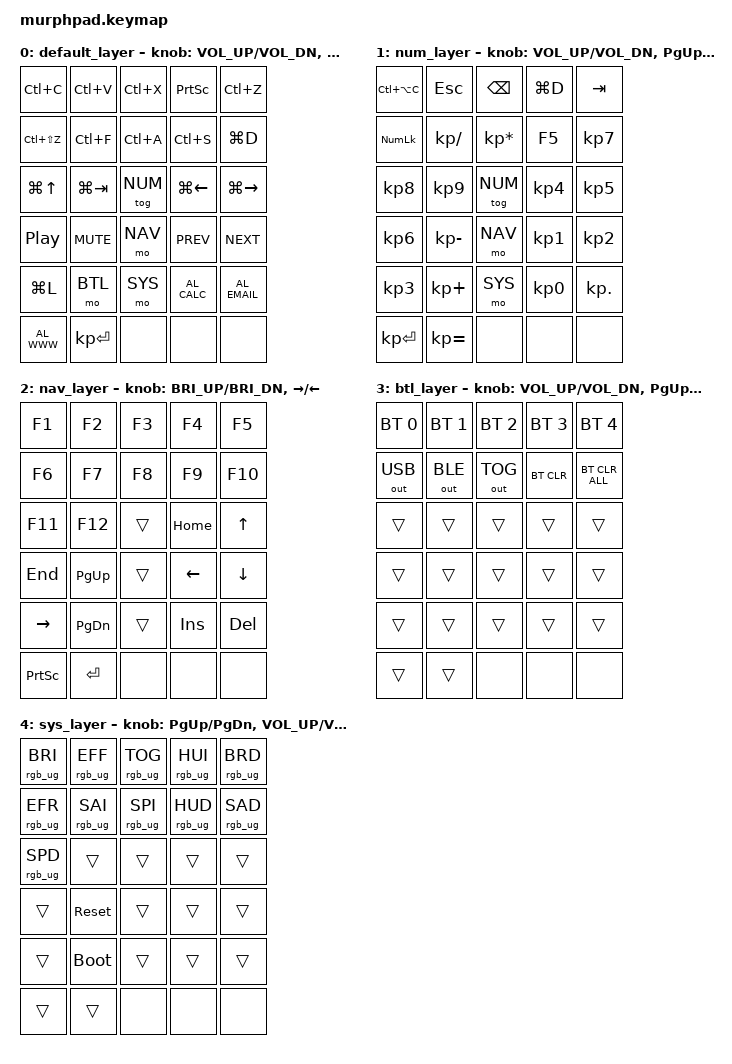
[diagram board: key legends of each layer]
/*
 * MurphPad — MACROPAD remap for zmk-workspace (Rob 2026-07-16)
 *
 * 6×5 matrix, nice!nano v1 (nRF52840), 2 encoders, WS2812 underglow.
 * Role decided: default = MACROPAD (media / window-mgmt / edit / app launch);
 * the numpad is demoted to a TOGGLE layer; a dedicated BT device-switch layer
 * handles multi-device (abbirim/spire/pacer/hackney).
 *
 * Physical layout (27 top-surface keys + 3 PCB-bottom ghosts). The shield's
 * physical_layout snakes matrix positions diagonally, so bindings below are in
 * MATRIX order with the physical @x,y annotated per key:
 *
 *         x=28    x=84    x=140   x=196   x=252
 * y=28:           [0,0]   [0,1]   [0,2]   [0,3]
 * y=84:           [0,4]   [1,0]   [1,1]   [1,2]
 * y=140:          [1,3]   [1,4]   [2,0]   [2,1]
 * y=196:  [2,2]   [2,3]   [2,4]   [3,0]e  [3,1]
 * y=252:  [3,2]   [3,3]   [3,4]   [4,0]   [4,1]
 * y=308:  [4,2]   [4,3]   [4,4]   [5,0]   [5,1]
 * y=364:          [5,2]g  [5,3]g  [5,4]g
 *
 * g=PCB bottom (ghost -> &none), e=encoder 1. Left column (x=28) = layer control.
 *
 * Layers: DEF(macropad) NUM(numpad toggle) NAV(F-keys/nav) BTL(bluetooth/device) SYS(rgb/reset)
 * Cross-OS note: window keys use LG (Meta/Win) which snap/tile on both KDE 5.27+
 * and Windows; virtual-desktop switch differs (KDE=Ctrl+Alt+arrow) — remap if
 * the pad lives on a KDE host.
 */

#include <behaviors.dtsi>
#include <dt-bindings/zmk/keys.h>
#include <dt-bindings/zmk/bt.h>
#include <dt-bindings/zmk/outputs.h>
#include <dt-bindings/zmk/rgb.h>

#define DEF 0
#define NUM 1
#define NAV 2
#define BTL 3
#define SYS 4

/* ── Encoders ─────────────────────────────────────── */
&encoder_1 { status = "okay"; };
&encoder_2 { status = "okay"; };

/ {
    sensors {
        compatible = "zmk,keymap-sensors";
        sensors = <&encoder_1 &encoder_2>;
    };

    keymap {
        compatible = "zmk,keymap";

        /* ── DEF: Macropad ───────────────────────────────────────────── *
         *         x=28    x=84    x=140   x=196   x=252
         * y=28:           Copy    Paste   Cut     PrtSc
         * y=84:           Undo    Redo    Find    SelAll
         * y=140:          Save    ShowDsk Maximiz TaskView
         * y=196:  NUM⊤    TileL   TileR   Play    Mute
         * y=252:  NAV↓    Prev    Next    Lock    BTL↓
         * y=308:  SYS↓    Calc    Email   Web     KpEnt
         * y=364:          [g]     [g]     [g]
         * Enc1(L): volume   Enc2(R): scroll (PgUp/Dn)
         */
        default_layer {
            bindings = <
        /*  [0,0]Copy      [0,1]Paste      [0,2]Cut        [0,3]PrtSc      [0,4]Undo   */
            &kp LC(C)      &kp LC(V)       &kp LC(X)       &kp PSCRN       &kp LC(Z)
        /*  [1,0]Redo      [1,1]Find       [1,2]SelAll     [1,3]Save       [1,4]ShowDsk*/
            &kp LC(LS(Z))  &kp LC(F)       &kp LC(A)       &kp LC(S)       &kp LG(D)
        /*  [2,0]Maximize  [2,1]TaskView   [2,2]NUM-tog    [2,3]TileL      [2,4]TileR  */
            &kp LG(UP)     &kp LG(TAB)     &tog NUM        &kp LG(LEFT)    &kp LG(RIGHT)
        /*  [3,0]Play      [3,1]Mute       [3,2]NAV-mo     [3,3]Prev       [3,4]Next   */
            &kp C_PP       &kp C_MUTE      &mo NAV         &kp C_PREV      &kp C_NEXT
        /*  [4,0]Lock      [4,1]BTL-mo     [4,2]SYS-mo     [4,3]Calc       [4,4]Email  */
            &kp LG(L)      &mo BTL         &mo SYS         &kp C_AL_CALC   &kp C_AL_EMAIL
        /*  [5,0]Web       [5,1]KpEnter    [5,2]ghost      [5,3]ghost      [5,4]ghost  */
            &kp C_AL_WWW   &kp KP_ENTER    &none           &none           &none
            >;
            sensor-bindings = <&inc_dec_kp C_VOL_UP C_VOL_DN &inc_dec_kp PG_UP PG_DN>;
        };

        /* ── NUM: Numpad (toggle from DEF via NUM⊤) ───────────────────── *
         *         x=28    x=84    x=140   x=196   x=252
         * y=28:           CtlAltC ESC     BSPC    Gui+D
         * y=84:           TAB     NumLk   KP/     KP*
         * y=140:          F5      KP7     KP8     KP9
         * y=196:  NUM⊤    KP4     KP5     KP6     KP-
         * y=252:  NAV↓    KP1     KP2     KP3     KP+
         * y=308:  SYS↓    KP0     KP.     KpEnt   KP=
         * y=364:          [g]     [g]     [g]
         * Enc1(L): volume   Enc2(R): scroll
         */
        num_layer {
            bindings = <
            &kp LC(LA(C)) &kp ESC          &kp BSPC        &kp LG(D)       &kp TAB
            &kp KP_NUM    &kp KP_DIVIDE    &kp KP_MULTIPLY &kp F5          &kp KP_N7
            &kp KP_N8     &kp KP_N9        &tog NUM        &kp KP_N4       &kp KP_N5
            &kp KP_N6     &kp KP_MINUS     &mo NAV         &kp KP_N1       &kp KP_N2
            &kp KP_N3     &kp KP_PLUS      &mo SYS         &kp KP_N0       &kp KP_DOT
            &kp KP_ENTER  &kp KP_EQUAL     &none           &none           &none
            >;
            sensor-bindings = <&inc_dec_kp C_VOL_UP C_VOL_DN &inc_dec_kp PG_UP PG_DN>;
        };

        /* ── NAV: F-keys + navigation (clean F1-F12 grid, realigned) ──── *
         *         x=28    x=84    x=140   x=196   x=252
         * y=28:           F1      F2      F3      F4
         * y=84:           F5      F6      F7      F8
         * y=140:          F9      F10     F11     F12
         * y=196:  ▽       HOME    UP      END     PgUp
         * y=252:  ▽held   LEFT    DOWN    RIGHT   PgDn
         * y=308:  ▽       INS     DEL     PrtSc   Enter
         * y=364:          [g]     [g]     [g]
         * Enc1(L): brightness   Enc2(R): left/right
         */
        nav_layer {
            bindings = <
            &kp F1        &kp F2           &kp F3          &kp F4          &kp F5
            &kp F6        &kp F7           &kp F8          &kp F9          &kp F10
            &kp F11       &kp F12          &trans          &kp HOME        &kp UP
            &kp END       &kp PG_UP        &trans          &kp LEFT        &kp DOWN
            &kp RIGHT     &kp PG_DN        &trans          &kp INS         &kp DEL
            &kp PSCRN     &kp ENTER        &none           &none           &none
            >;
            sensor-bindings = <&inc_dec_kp C_BRI_UP C_BRI_DN &inc_dec_kp RIGHT LEFT>;
        };

        /* ── BTL: Bluetooth / device-switch (hold BTL↓ on DEF) ────────── *
         * Multi-device: pair each profile to a target, then select here.
         *         x=28    x=84     x=140    x=196    x=252
         * y=28:           BT0      BT1      BT2      BT3        (abbirim/spire/pacer/hackney)
         * y=84:           BT4      OUT_USB  OUT_BLE  OUT_TOG    (BT4=spare, output route)
         * y=140:          BTclr    BTclrAll ▽        ▽
         * y=196:  ▽       ▽        ▽        ▽        ▽
         * y=252:  ▽       ▽        ▽(held)  ▽        ▽
         * y=308:  ▽       ▽        ▽        ▽        ▽
         * y=364:          [g]      [g]      [g]
         * NOTE: profiles 0-4 = the default CONFIG_ZMK_BLE_PROFILE_COUNT (5); bump
         *       murphpad.conf if you need >5 targets.
         */
        btl_layer {
            bindings = <
            &bt BT_SEL 0  &bt BT_SEL 1     &bt BT_SEL 2    &bt BT_SEL 3    &bt BT_SEL 4
            &out OUT_USB  &out OUT_BLE     &out OUT_TOG    &bt BT_CLR      &bt BT_CLR_ALL
            &trans        &trans           &trans          &trans          &trans
            &trans        &trans           &trans          &trans          &trans
            &trans        &trans           &trans          &trans          &trans
            &trans        &trans           &none           &none           &none
            >;
            sensor-bindings = <&inc_dec_kp C_VOL_UP C_VOL_DN &inc_dec_kp PG_UP PG_DN>;
        };

        /* ── SYS: RGB / reset / bootloader (trimmed — BT moved to BTL) ── *
         *         x=28    x=84     x=140    x=196    x=252
         * y=28:           RGB_BRI  RGB_EFF  RGB_TOG  RGB_HUI
         * y=84:           RGB_BRD  RGB_EFR  RGB_SAI  RGB_SPI
         * y=140:          RGB_HUD  RGB_SAD  RGB_SPD  ▽
         * y=196:  ▽       ▽        ▽        ▽        sys_reset
         * y=252:  ▽       ▽        ▽(held)  ▽        bootloader
         * y=308:  ▽       ▽        ▽        ▽        ▽
         * y=364:          [g]      [g]      [g]
         */
        sys_layer {
            bindings = <
            &rgb_ug RGB_BRI &rgb_ug RGB_EFF &rgb_ug RGB_TOG &rgb_ug RGB_HUI &rgb_ug RGB_BRD
            &rgb_ug RGB_EFR &rgb_ug RGB_SAI &rgb_ug RGB_SPI &rgb_ug RGB_HUD &rgb_ug RGB_SAD
            &rgb_ug RGB_SPD &trans          &trans          &trans          &trans
            &trans          &sys_reset      &trans          &trans          &trans
            &trans          &bootloader     &trans          &trans          &trans
            &trans          &trans          &none           &none           &none
            >;
            sensor-bindings = <&inc_dec_kp PG_UP PG_DN &inc_dec_kp C_VOL_UP C_VOL_DN>;
        };
    };
};
